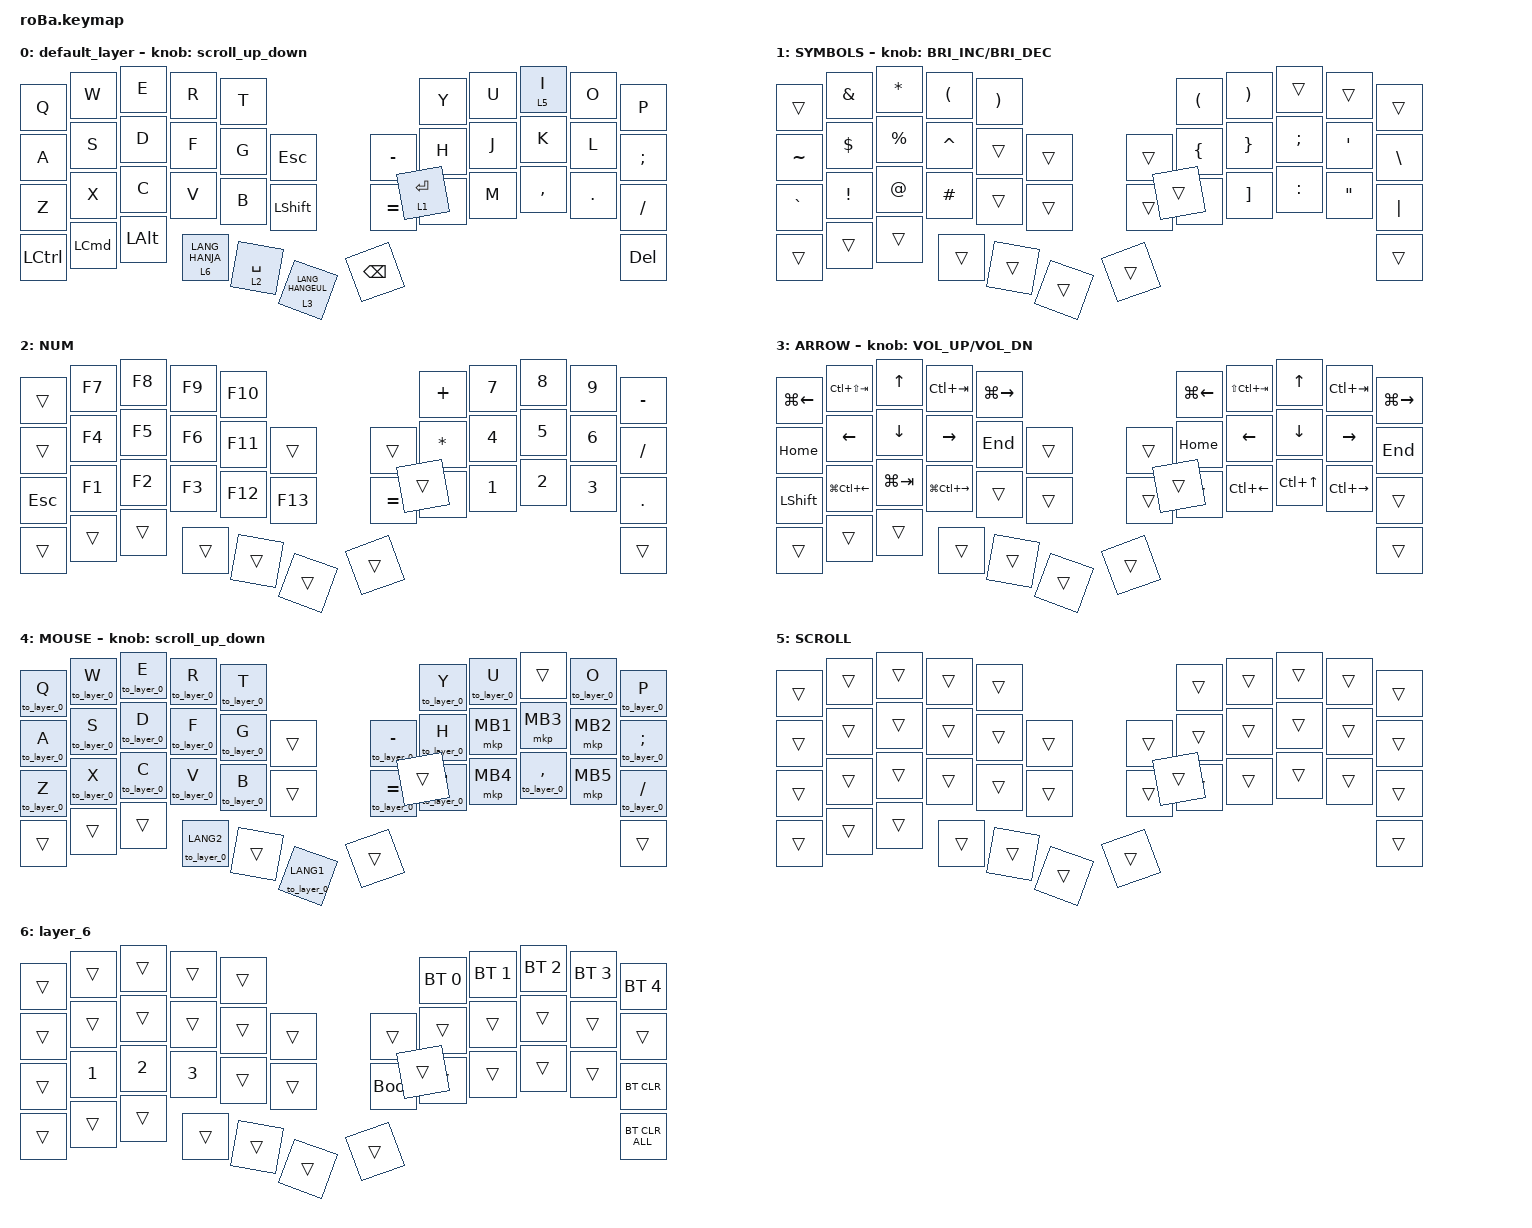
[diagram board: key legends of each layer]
#include <behaviors.dtsi>
#include <dt-bindings/zmk/bt.h>
#include <dt-bindings/zmk/keys.h>
#include <dt-bindings/zmk/pointing.h>

#define ZMK_POINTING_DEFAULT_SCRL_VAL 100
#define MOUSE 4
#define SCROLL 5
#define NUM 6

&mt {
    flavor = "hold-preferred";
    quick-tap-ms = <0>;
};

&sl { release-after-ms = <250>; };

/ {
    combos {
        compatible = "zmk,combos";

        tab {
            bindings = <&kp TAB>;
            key-positions = <12 11>;
        };

        shifttab {
            bindings = <&kp LS(TAB)>;
            key-positions = <12 13>;
        };

        shiftenter {
            bindings = <&kp LS(ENTER)>;
            key-positions = <39 41>;
        };

        winscreenshot {
            bindings = <&kp LG(LS(S))>;
            key-positions = <0 1>;
        };

        macscreenshot {
            bindings = <&kp LG(LS(NUMBER_4))>;
            key-positions = <8 9>;
        };

        doublequote {
            bindings = <&kp SINGLE_QUOTE>;
            key-positions = <20 21>;
        };

        backslash {
            bindings = <&kp BACKSLASH>;
            key-positions = <33 32>;
        };
    };

    macros {
        to_layer_0: to_layer_0 {
            compatible = "zmk,behavior-macro-one-param";
            #binding-cells = <1>;
            bindings = <&to 0 &macro_param_1to1 &kp MACRO_PLACEHOLDER>;
            label = "TO_LAYER_0";
        };

        mkp_exit_AML: mkp_exit_AML {
            compatible = "zmk,behavior-macro-one-param";
            #binding-cells = <1>;
            bindings =
                <&macro_press>,
                <&macro_param_1to1 &kp MACRO_PLACEHOLDER>,
                <&macro_pause_for_release>,
                <&macro_release>,
                <&macro_param_1to1 &mkp MACRO_PLACEHOLDER>,
                <&macro_tap>,
                <&sl 4>;

            label = "MKP_EXIT_AML";
        };

        mkp_exit_AML_LAYER: mkp_exit_AML_LAYER {
            compatible = "zmk,behavior-macro-one-param";
            #binding-cells = <1>;
            bindings =
                <&macro_press>,
                <&macro_param_1to1 &to MACRO_PLACEHOLDER>,
                <&macro_release>,
                <&macro_param_1to1 &mkp MACRO_PLACEHOLDER>,
                <&macro_tap>,
                <&sl 4>;

            label = "MKP_EXIT_AML_LAYER";
        };
    };

    behaviors {
        scroll_up_down: behavior_sensor_rotate_mouse_wheel_up_down {
            compatible = "zmk,behavior-sensor-rotate";
            #sensor-binding-cells = <0>;
            bindings = <&msc SCRL_UP>, <&msc SCRL_DOWN>;

            // 追加: スクロールのタップ時間を設定 (20ms)

            tap-ms = <20>;
        };

        multi_tap_tab_bspc: behavior_multi_tap {
            label = "MT_TAB_BSPC";
            #binding-cells = <0>;
            bindings = <&kp TAB>, <&kp BSPC>;

            max-taps = <2>;
            max-tap-interrupt-ms = <250>;
        };
    };

    keymap {
        compatible = "zmk,keymap";

        default_layer {
            bindings = <
&kp Q      &kp W             &kp E         &kp R             &kp T                                               &kp Y        &kp U  &lt 5 I    &kp O    &kp P
&kp A      &kp S             &kp D         &kp F             &kp G        &kp ESCAPE              &kp MINUS      &kp H        &kp J  &kp K      &kp L    &kp SEMI
&kp Z      &kp X             &kp C         &kp V             &kp B        &kp LEFT_SHIFT          &kp EQUAL      &kp N        &kp M  &kp COMMA  &kp DOT  &kp SLASH
&kp LCTRL  &kp LEFT_COMMAND  &kp LEFT_ALT  &lt 6 LANG_HANJA  &lt 2 SPACE  &lt 3 LANG_HANGEUL      &kp BACKSPACE  &lt 1 ENTER                             &kp DEL
            >;

            sensor-bindings = <&scroll_up_down>;
        };

        SYMBOLS {
            bindings = <
&trans     &kp AMPERSAND    &kp ASTERISK  &kp LEFT_PARENTHESIS  &kp RIGHT_PARENTHESIS                      &kp LEFT_PARENTHESIS  &kp RIGHT_PARENTHESIS  &trans         &trans             &trans
&kp TILDE  &kp DOLLAR       &kp PERCENT   &kp CARET             &trans                 &trans      &trans  &kp LEFT_BRACE        &kp RIGHT_BRACE        &kp SEMICOLON  &kp SINGLE_QUOTE   &kp BACKSLASH
&kp GRAVE  &kp EXCLAMATION  &kp AT_SIGN   &kp HASH              &trans                 &trans      &trans  &kp LEFT_BRACKET      &kp RIGHT_BRACKET      &kp COLON      &kp DOUBLE_QUOTES  &kp PIPE
&trans     &trans           &trans        &trans                &trans                 &trans      &trans  &trans                                                                         &trans
            >;

            sensor-bindings = <&inc_dec_kp C_BRIGHTNESS_INC C_BRIGHTNESS_DEC>;
        };

        NUM {
            bindings = <
&trans   &kp F7  &kp F8  &kp F9  &kp F10                          &kp PLUS      &kp NUMBER_7  &kp NUMBER_8  &kp NUMBER_9  &kp MINUS
&trans   &kp F4  &kp F5  &kp F6  &kp F11  &trans       &trans     &kp ASTERISK  &kp NUMBER_4  &kp NUMBER_5  &kp NUMBER_6  &kp SLASH
&kp ESC  &kp F1  &kp F2  &kp F3  &kp F12  &kp F13      &kp EQUAL  &kp NUMBER_0  &kp NUMBER_1  &kp NUMBER_2  &kp NUMBER_3  &kp PERIOD
&trans   &trans  &trans  &trans  &trans   &trans       &trans     &trans                                                  &trans
            >;
        };

        ARROW {
            bindings = <
&kp LG(LEFT_ARROW)  &kp LC(LS(TAB))         &kp UP_ARROW    &kp LC(TAB)              &kp LG(RIGHT_ARROW)                      &kp LG(LEFT_ARROW)  &kp LS(LC(TAB))     &kp UP_ARROW    &kp LC(TAB)          &kp LG(RIGHT_ARROW)
&kp HOME            &kp LEFT_ARROW          &kp DOWN_ARROW  &kp RIGHT_ARROW          &kp END              &trans      &trans  &kp HOME            &kp LEFT_ARROW      &kp DOWN_ARROW  &kp RIGHT_ARROW      &kp END
&kp LEFT_SHIFT      &kp LG(LC(LEFT_ARROW))  &kp LG(TAB)     &kp LG(LC(RIGHT_ARROW))  &trans               &trans      &trans  &trans              &kp LC(LEFT_ARROW)  &kp LC(UP)      &kp LC(RIGHT_ARROW)  &trans
&trans              &trans                  &trans          &trans                   &trans               &trans      &trans  &trans                                                                       &trans
            >;

            sensor-bindings = <&inc_dec_kp C_VOLUME_UP C_VOL_DN>;
        };

        MOUSE {
            bindings = <
&to_layer_0 Q  &to_layer_0 W  &to_layer_0 E  &to_layer_0 R      &to_layer_0 T                                            &to_layer_0 Y  &to_layer_0 U  &trans             &to_layer_0 O  &to_layer_0 P
&to_layer_0 A  &to_layer_0 S  &to_layer_0 D  &to_layer_0 F      &to_layer_0 G  &trans                 &to_layer_0 MINUS  &to_layer_0 H  &mkp MB1       &mkp MB3           &mkp MB2       &to_layer_0 SEMI
&to_layer_0 Z  &to_layer_0 X  &to_layer_0 C  &to_layer_0 V      &to_layer_0 B  &trans                 &to_layer_0 EQUAL  &to_layer_0 N  &mkp MB4       &to_layer_0 COMMA  &mkp MB5       &to_layer_0 SLASH
&trans         &trans         &trans         &to_layer_0 LANG2  &trans         &to_layer_0 LANG1      &trans             &trans                                                          &trans
            >;

            sensor-bindings = <&scroll_up_down>;
        };

        SCROLL {
            bindings = <
&trans  &trans  &trans  &trans  &trans                      &trans  &trans  &trans  &trans  &trans
&trans  &trans  &trans  &trans  &trans  &trans      &trans  &trans  &trans  &trans  &trans  &trans
&trans  &trans  &trans  &trans  &trans  &trans      &trans  &trans  &trans  &trans  &trans  &trans
&trans  &trans  &trans  &trans  &trans  &trans      &trans  &trans                          &trans
            >;
        };

        layer_6 {
            bindings = <
&trans  &trans        &trans        &trans        &trans                           &bt BT_SEL 0  &bt BT_SEL 1  &bt BT_SEL 2  &bt BT_SEL 3  &bt BT_SEL 4
&trans  &trans        &trans        &trans        &trans  &trans      &trans       &trans        &trans        &trans        &trans        &trans
&trans  &kp NUMBER_1  &kp NUMBER_2  &kp NUMBER_3  &trans  &trans      &bootloader  &trans        &trans        &trans        &trans        &bt BT_CLR
&trans  &trans        &trans        &trans        &trans  &trans      &trans       &trans                                                  &bt BT_CLR_ALL
            >;
        };
    };
};
